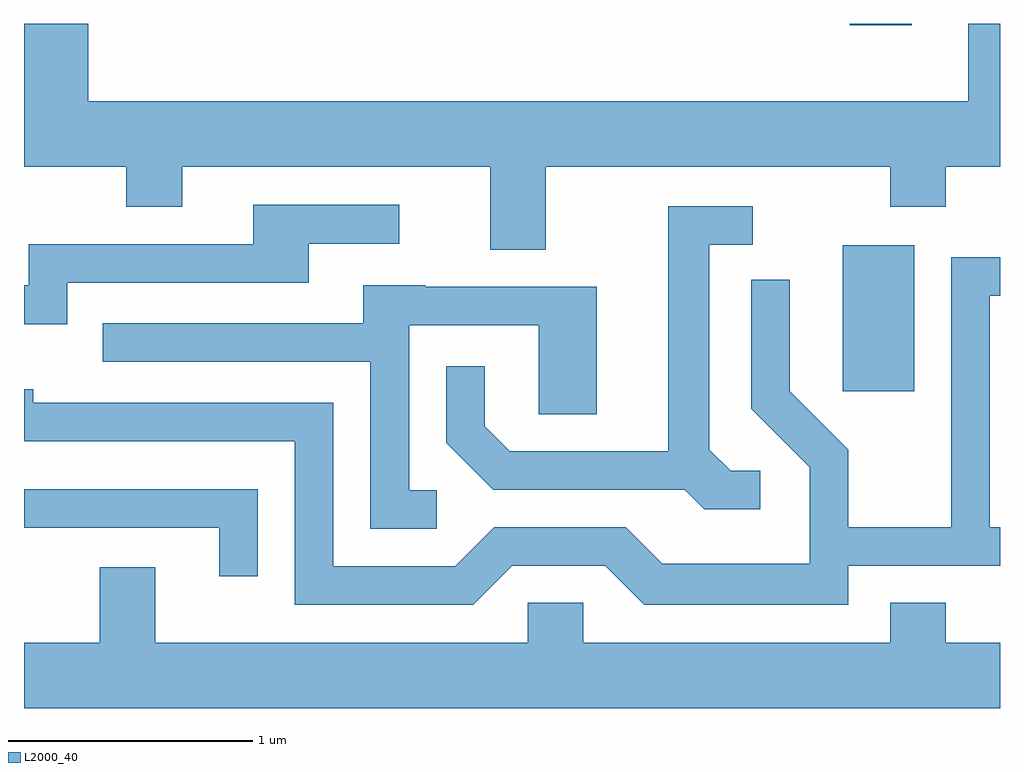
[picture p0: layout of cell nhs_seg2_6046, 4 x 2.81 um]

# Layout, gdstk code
import gdstk
lib = gdstk.Library(unit=1e-6, precision=1e-09)
def R(c, l, rs):  # rectangles x0, y0, x1, y1
    for r in rs: c.add(gdstk.rectangle(r[:2], r[2:], *l))
def P(c, l, *ps):  # polygons
    for p in ps: c.add(gdstk.Polygon(p, *l))
L2000_40 = (2000, 40)

nhs_seg2_6046 = lib.new_cell('nhs_seg2_6046')
R(nhs_seg2_6046, L2000_40, [(366.966,1036.296,367.259,1036.894), (366.996,1037.796,367.249,1037.802)])
P(nhs_seg2_6046, L2000_40, [(365.749,1037.216),(367.161,1037.216),(367.161,1037.051),(367.389,1037.051),(367.389,1037.216),(367.611,1037.216),(367.611,1037.802),(367.481,1037.802),(367.481,1037.484),(363.874,1037.484),(363.874,1037.802),(363.611,1037.802),(363.611,1037.216),(364.031,1037.216),(364.031,1037.051),(364.259,1037.051),(364.259,1037.216),(365.521,1037.216),(365.521,1036.876),(365.749,1036.876)],
  [(363.789,1036.741),(364.779,1036.741),(364.779,1036.901),(365.148,1036.901),(365.148,1037.059),(364.551,1037.059),(364.551,1036.899),(363.631,1036.899),(363.631,1036.729),(363.611,1036.729),(363.611,1036.571),(363.789,1036.571)],
  [(366.628,1035.969),(366.507,1035.969),(366.419,1036.056),(366.419,1036.896),(366.598,1036.896),(366.598,1037.054),(366.251,1037.054),(366.251,1036.049),(365.602,1036.049),(365.499,1036.152),(365.499,1036.398),(365.341,1036.398),(365.341,1036.084),(365.534,1035.891),(366.319,1035.891),(366.399,1035.811),(366.628,1035.811)],
  [(365.612,1035.581),(365.994,1035.581),(366.154,1035.421),(366.989,1035.421),(366.989,1035.581),(367.611,1035.581),(367.611,1035.739),(367.569,1035.739),(367.569,1036.686),(367.611,1036.686),(367.611,1036.844),(367.411,1036.844),(367.411,1035.739),(366.989,1035.739),(366.989,1036.056),(366.749,1036.296),(366.749,1036.753),(366.591,1036.753),(366.591,1036.224),(366.831,1035.984),(366.831,1035.589),(366.227,1035.589),(366.077,1035.739),(365.539,1035.739),(365.379,1035.579),(364.879,1035.579),(364.879,1036.249),(363.649,1036.249),(363.649,1036.304),(363.611,1036.304),(363.611,1036.091),(364.721,1036.091),(364.721,1035.421),(365.452,1035.421)],
  [(365.303,1035.889),(365.189,1035.889),(365.189,1036.566),(365.721,1036.566),(365.721,1036.201),(365.959,1036.201),(365.959,1036.724),(365.255,1036.724),(365.255,1036.729),(365.001,1036.729),(365.001,1036.574),(363.933,1036.574),(363.933,1036.416),(365.031,1036.416),(365.031,1035.731),(365.303,1035.731)],
  [(364.569,1035.894),(363.611,1035.894),(363.611,1035.736),(364.411,1035.736),(364.411,1035.537),(364.569,1035.537)],
  [(367.611,1035.264),(367.389,1035.264),(367.389,1035.429),(367.161,1035.429),(367.161,1035.264),(365.904,1035.264),(365.904,1035.429),(365.676,1035.429),(365.676,1035.264),(364.149,1035.264),(364.149,1035.574),(363.921,1035.574),(363.921,1035.264),(363.611,1035.264),(363.611,1034.996),(367.611,1034.996)])

lib.write_gds('nhs_seg2_6046.gds')
